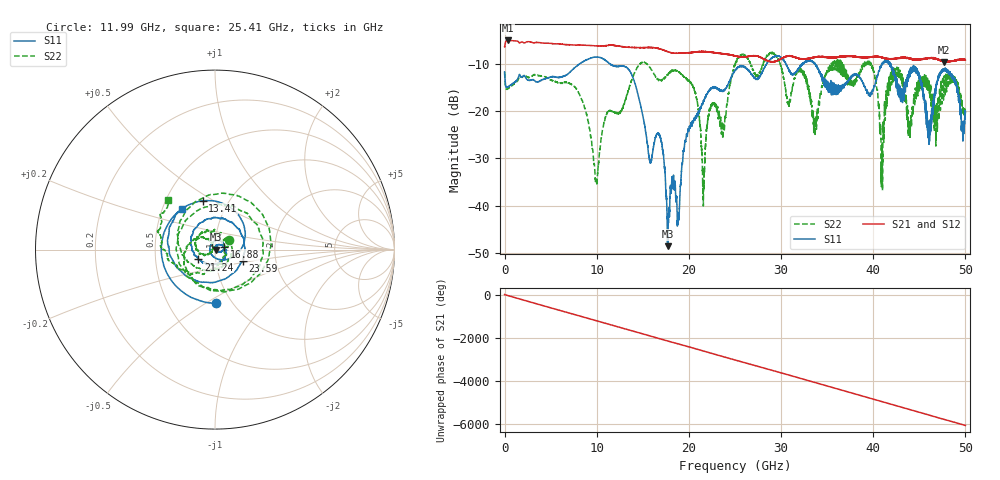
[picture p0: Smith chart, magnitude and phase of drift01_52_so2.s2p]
!Created with skrf (http://scikit-rf.org).
# Hz S RI R 50.0
!freq ReS11 ImS11 ReS21 ImS21 ReS12 ImS12 ReS22 ImS22
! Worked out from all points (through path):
!   10001 points, 300 kHz to 50 GHz, reference 50 ohm
!   highest |S21| = -5.05 dB at 365.3 MHz (marker M1); lowest = -9.7 dB at 47.67 GHz (marker M2)
!   group delay of S21, straight-line fit = 336 ps
!   lowest |S11| = -48.6 dB at 17.68 GHz (marker M3), VSWR 1.01, Z = 50.4 - j0.0157 ohm
!   |S11| at or under -10 dB: start of sweep to 8.14 GHz; 11.43 GHz to 28.43 GHz (17.01 GHz wide, 85.3 % of centre); 41.91 GHz to end of sweep (the widest 3 of 12)
!   |S22| runs from -40.1 to -7.6 dB; largest |S21 - S12| = 0.015
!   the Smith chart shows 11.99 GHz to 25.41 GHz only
!   S11 on the Smith chart (normalised r, x): 11.99 GHz: 0.84, -0.55; 13.41 GHz: 0.76, +0.45; 16.88 GHz: 1.11, +0.03; 21.24 GHz: 0.82, -0.09; 23.59 GHz: 1.35, -0.17; 25.41 GHz: 0.63, +0.31
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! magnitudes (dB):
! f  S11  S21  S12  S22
! 300 kHz  -11.7  -6.4  -6.5  -11.8
! 365.3 MHz  -14.9  -5.1  -5.1  -15.3
! 8.335 GHz  -9.8  -6.0  -6.0  -17.5
! 9.935 GHz  -8.6  -6.2  -6.2  -34.4
! 11.99 GHz  -10.5  -6.1  -6.1  -20.4
! 13.41 GHz  -11.1  -6.5  -6.5  -15.6
! 15.76 GHz  -30.8  -6.5  -6.5  -10.8
! 16.67 GHz  -24.7  -6.8  -6.8  -13.4
! 16.88 GHz  -25.4  -6.9  -6.9  -13.6
! 17.68 GHz  -48.6  -7.4  -7.4  -12.3
! 21.24 GHz  -19.3  -7.4  -7.4  -23.3
! 23.59 GHz  -15.6  -7.8  -7.8  -22.4
! 25 GHz  -11.4  -8.3  -8.4  -10.4
! 25.41 GHz  -10.7  -8.5  -8.5  -8.4
! 33.34 GHz  -9.4  -8.7  -8.7  -19.6
! 39.48 GHz  -16.4  -8.6  -8.6  -10.0
! 40.94 GHz  -9.9  -8.6  -8.6  -27.8
! 41.67 GHz  -9.9  -8.9  -9.0  -15.7
! 44.77 GHz  -11.2  -9.1  -9.1  -14.0
! 46.08 GHz  -25.4  -8.8  -8.8  -14.4
! 47.67 GHz  -11.3  -9.7  -9.5  -14.5
! 50 GHz  -20.2  -9.2  -9.1  -20.3
